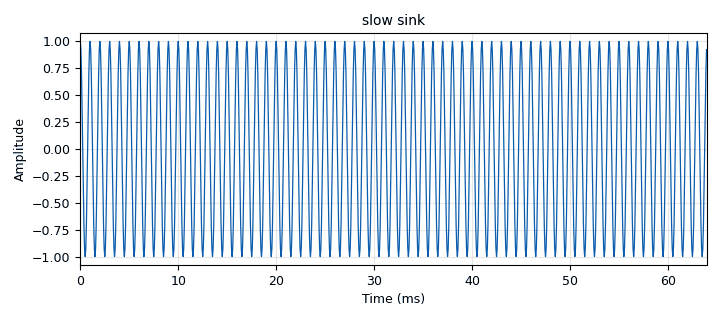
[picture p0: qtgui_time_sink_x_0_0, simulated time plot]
<?xml version='1.0' encoding='utf-8'?>
<?grc format='1' created='3.7.9'?>
<flow_graph>
<block>
<key>options</key>
<param><key>id</key><value>top_block</value></param>
<param><key>category</key><value>Custom</value></param>
<param><key>generate_options</key><value>qt_gui</value></param>
</block>
<block>
<key>variable_qtgui_range</key>
<param><key>id</key><value>freq</value></param>
<param><key>value</key><value>2000</value></param>
<param><key>orient</key><value>Qt.Horizontal</value></param>
<param><key>start</key><value>1</value></param>
<param><key>step</key><value>1000</value></param>
<param><key>stop</key><value>40000</value></param>
<param><key>rangeType</key><value>int</value></param>
</block>
<block>
<key>variable</key>
<param><key>id</key><value>samp_rate</value></param>
<param><key>value</key><value>32000</value></param>
</block>
<block>
<key>analog_sig_source_x</key>
<param><key>id</key><value>analog_sig_source_x_0</value></param>
<param><key>amp</key><value>1</value></param>
<param><key>freq</key><value>freq</value></param>
<param><key>offset</key><value>0</value></param>
<param><key>type</key><value>float</value></param>
<param><key>samp_rate</key><value>samp_rate</value></param>
<param><key>waveform</key><value>analog.GR_COS_WAVE</value></param>
</block>
<block>
<key>blocks_throttle</key>
<param><key>id</key><value>blocks_throttle_0</value></param>
<param><key>samples_per_second</key><value>samp_rate</value></param>
<param><key>type</key><value>float</value></param>
</block>
<block>
<key>qtgui_freq_sink_x</key>
<param><key>id</key><value>qtgui_freq_sink_x_0</value></param>
<param><key>bw</key><value>samp_rate</value></param>
<param><key>fc</key><value>0</value></param>
<param><key>_enabled</key><value>0</value></param>
<param><key>fftsize</key><value>2048</value></param>
<param><key>name</key><value>"fast sink"</value></param>
<param><key>showports</key><value>True</value></param>
<param><key>type</key><value>float</value></param>
<param><key>wintype</key><value>firdes.WIN_BLACKMAN_hARRIS</value></param>
</block>
<block>
<key>qtgui_freq_sink_x</key>
<param><key>id</key><value>qtgui_freq_sink_x_0_0</value></param>
<param><key>bw</key><value>samp_rate/2</value></param>
<param><key>fc</key><value>0</value></param>
<param><key>_enabled</key><value>0</value></param>
<param><key>fftsize</key><value>2048</value></param>
<param><key>name</key><value>"slow sink"</value></param>
<param><key>showports</key><value>True</value></param>
<param><key>type</key><value>float</value></param>
<param><key>wintype</key><value>firdes.WIN_BLACKMAN_hARRIS</value></param>
</block>
<block>
<key>qtgui_time_sink_x</key>
<param><key>id</key><value>qtgui_time_sink_x_0</value></param>
<param><key>_enabled</key><value>0</value></param>
<param><key>color1</key><value>"blue"</value></param>
<param><key>label1</key><value></value></param>
<param><key>name</key><value>"fast sink"</value></param>
<param><key>size</key><value>1024</value></param>
<param><key>srate</key><value>samp_rate</value></param>
<param><key>type</key><value>float</value></param>
</block>
<block>
<key>qtgui_time_sink_x</key>
<param><key>id</key><value>qtgui_time_sink_x_0_0</value></param>
<param><key>color1</key><value>"blue"</value></param>
<param><key>label1</key><value></value></param>
<param><key>name</key><value>"slow sink"</value></param>
<param><key>size</key><value>1024</value></param>
<param><key>srate</key><value>samp_rate / 2</value></param>
<param><key>type</key><value>float</value></param>
</block>
<connection><source_block_id>analog_sig_source_x_0</source_block_id><sink_block_id>blocks_throttle_0</sink_block_id><source_key>0</source_key><sink_key>0</sink_key></connection>
<connection><source_block_id>blocks_throttle_0</source_block_id><sink_block_id>qtgui_freq_sink_x_0</sink_block_id><source_key>0</source_key><sink_key>0</sink_key></connection>
<connection><source_block_id>blocks_throttle_0</source_block_id><sink_block_id>qtgui_freq_sink_x_0_0</sink_block_id><source_key>0</source_key><sink_key>0</sink_key></connection>
<connection><source_block_id>blocks_throttle_0</source_block_id><sink_block_id>qtgui_time_sink_x_0</sink_block_id><source_key>0</source_key><sink_key>0</sink_key></connection>
<connection><source_block_id>blocks_throttle_0</source_block_id><sink_block_id>qtgui_time_sink_x_0_0</sink_block_id><source_key>0</source_key><sink_key>0</sink_key></connection>
</flow_graph>
